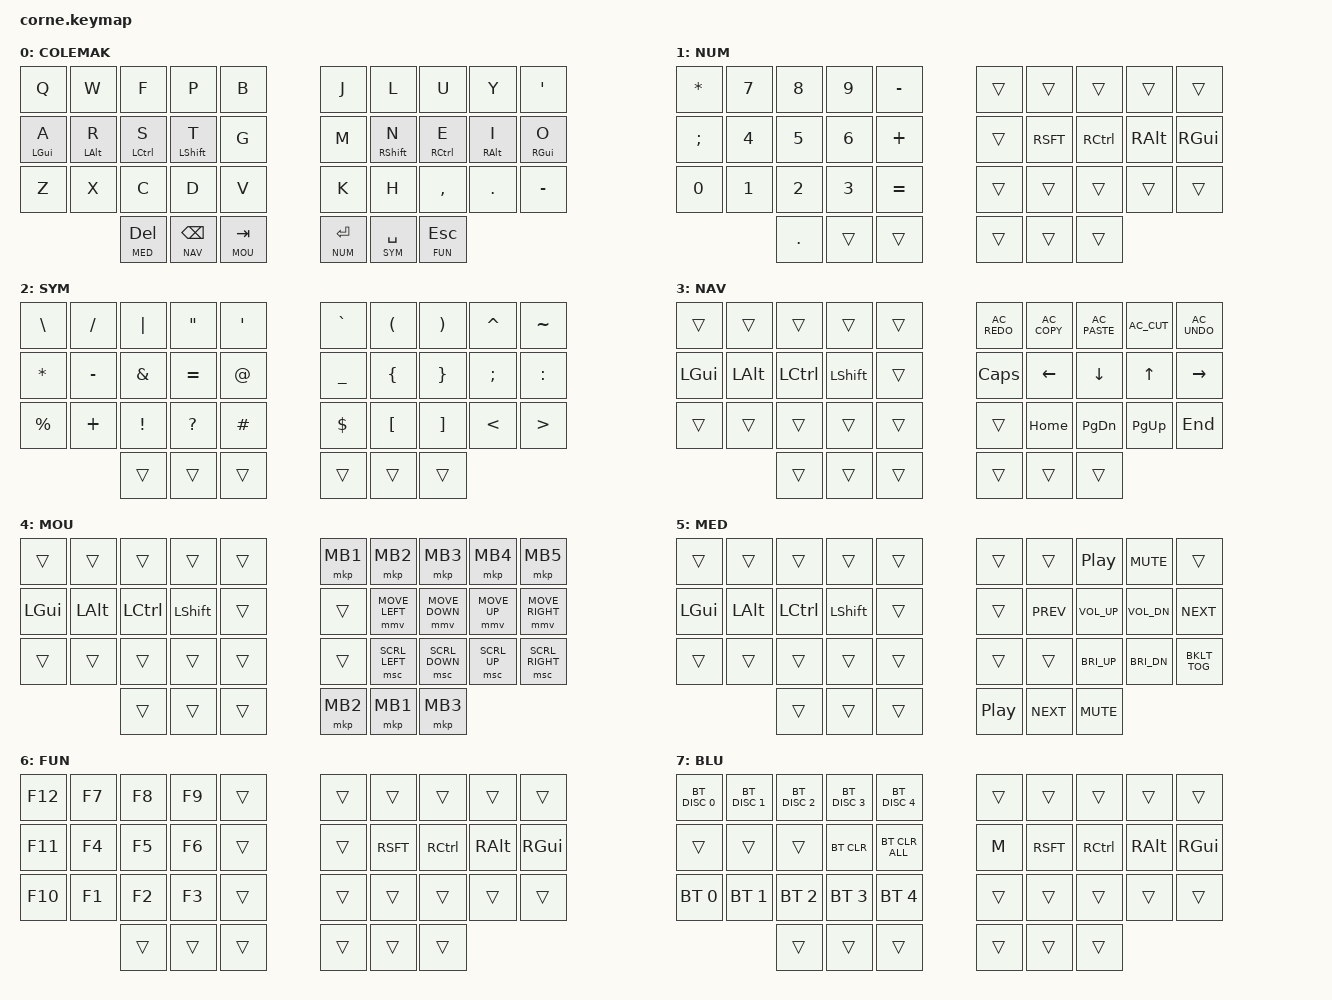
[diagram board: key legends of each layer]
/*
*
* Copyright (c) 2021 Darryl deHaan
* SPDX-License-Identifier: MIT
*
*/

// Fix problem quickly with galvanized jets. (35)
// Adjusting quiver and bow, Zompye killed the fox. (39)

#include <behaviors.dtsi>
#include <dt-bindings/zmk/keys.h>
#include <dt-bindings/zmk/bt.h>
#include <dt-bindings/zmk/pointing.h>

#define COLEMAK 0
#define NUM 1 // numbers
#define SYM 2 // symbols
#define NAV 3 // navigation
#define MOU 4 // mouse emulation
#define MED 5 // media layer
#define FUN 6 // f-keys
#define BLU 7 // bluetooth control layer^îoe

&mt {
        flavor = "tap-preferred";
        tapping-term-ms = <170>;
        quick-tap-ms = <130>;
};

&lt {
        tapping-term-ms = <170>;
        quick-tap-ms = <130>;
};

/ {   
    chosen {
        zmk,physical-layout = &foostan_corne_5col_layout;
    };    

    conditional_layers {
        compatible = "zmk,conditional-layers";
        tri_layer {
            if-layers = <NUM SYM>;
            then-layer = <BLU>;
        };
    };

    keymap {
        compatible = "zmk,keymap";

        /* ─── DEFAULT (COLEMAK) LAYER ─────────────────────────────────────────────────────────────── */
        default_layer {
            display-name = "COLEMAK";
                        bindings = <

            // |----------------------------------------------------------------------------------------------------------------------------------------------------|
            // |      Q      |      W      |      F      |      P      |      B      |       |      J      |      L       |      U      |      Y      |     '|?     |   
                    &kp Q        &kp W          &kp F         &kp P         &kp B                  &kp J         &kp L        &kp U          &kp Y        &kp APOSTROPHE   
            // |----------------------------------------------------------------------------------------------------------------------------------------------------|
            // |      A      |      R      |      S      |      T      |      G      |       |      M      |      N       |      E      |      I      |      O      |
                 &mt LGUI A     &mt LALT R    &mt LCTRL S  &mt LSHFT T        &kp G                &kp M      &mt RSHFT N   &mt RCTRL E    &mt RALT I     &mt RGUI O
            // |----------------------------------------------------------------------------------------------------------------------------------------------------|
            // |      Z      |      X      |      C      |      D      |      V      |       |      K      |      H       |     ,|;     |     .|:     |     -|_     |
                    &kp Z        &kp X          &kp C        &kp D         &kp V                 &kp K         &kp H        &kp COMMA      &kp DOT      &kp MINUS 
            // |----------------------------------------------------------------------------------------------------------------------------------------------------|
            //                             |     DEL     |     BSP     |     TAB     |       |   ENTER     |     SPC      |     ALT     |
                                            &lt MED DEL    &lt NAV BSPC  &lt MOU TAB         &lt NUM ENTER  &lt SYM SPACE  &lt FUN ESC
            //                             |-------------|-------------|-------------|-------|-------------|--------------|-------------|
                        >;
        };

        /* ─── NUMPAD LAYER (Right-Thumb Activation: Active mapping on LEFT half) ─────────────────── */
        num_layer {
            display-name = "NUM";
                        bindings = <

            // |----------------------------------------------------------------------------------------------------------------------------------------------------|
            // |   BKT   |    7      |    8      |    9      |  -     |       |   TRNS    |   TRNS     |   TRNS    |   TRNS    |   TRNS    |
                 &kp ASTRK      &kp N7      &kp N8      &kp N9      &kp MINUS                &trans   &trans   &trans   &trans   &trans
            // |----------------------------------------------------------------------------------------------------------------------------------------------------|
            // |   ;|:    |    4      |    5      |    6      |   PLUS    |       |   TRNS      | HRMR(N,E,I,O)        |
                  &kp SEMI      &kp N4      &kp N5      &kp N6       &kp PLUS               &trans     &kp RSFT   &kp RCTRL   &kp RALT   &kp RGUI
            // |----------------------------------------------------------------------------------------------------------------------------------------------------|
            // |   TRNS    |    1      |    2      |    3      |  EQL     |       |   TRNS    |   TRNS     |   TRNS    |   TRNS    |   TRNS    |
                 &kp N0       &kp N1      &kp N2      &kp N3      &kp EQL               &trans   &trans   &trans   &trans   &trans
            // |----------------------------------------------------------------------------------------------------------------------------------------------------|
            //                             |   .    |   0   |   TRNS    |       |   TRNS    |   TRNS     |   TRNS    |
                                            &kp DOT   &trans    &trans         &trans   &trans   &trans
            //                             |-------------|-------------|-------------|-------|-------------|--------------|-------------|
                        >;
        };

        /* ─── SYMBOLS LAYER (Right-Thumb Activation: Active mapping on LEFT half) ───────────────── */
        sym_layer {
            display-name = "SYM";
                        bindings = <

            // |----------------------------------------------------------------------------------------------------------------------------------------------------|
            // |     \      |      /      |      |      |      "      |      '      |       |     `       |      (       |      )      |      ^      |      ~      |   
                  &kp BSLH     &kp FSLH      &kp PIPE       &kp DQT      &kp SQT               &kp GRAVE     &kp LPAR       &kp RPAR     &kp CARET      &kp TILDE  
            // |----------------------------------------------------------------------------------------------------------------------------------------------------|
            // |      *     |      -      |      &      |      =      |      @      |       |     _       |      {       |      }      |      ;      |      :      |
                    &kp STAR  &kp MINUS      &kp AMPS        &kp EQUAL     &kp AT              &kp UNDER      &kp LBRC        &kp RBRC     &kp SEMI     &kp COLON
            // |----------------------------------------------------------------------------------------------------------------------------------------------------|
            // |     %      |      +      |      !      |      ?      |      #      |       |      $      |       [       |     ]      |      <      |      >      |
                  &kp PRCNT     &kp PLUS     &kp EXCL     &kp QMARK      &kp HASH              &kp DLLR       &kp LBKT        &kp RBKT       &kp LT       &kp GT 
            // |----------------------------------------------------------------------------------------------------------------------------------------------------|
            //                             |   TRNS    |   TRNS       |   TRNS      |       |   TRNS       |   TRNS        |   TRNS    |
                                            &trans        &trans      &trans              &trans      &trans        &trans
            //                             |-------------|-------------|-------------|-------|-------------|--------------|-------------|
                        >;
        };

        /* ─── NAVIGATION LAYER (Left-Thumb Activation: Active mapping on RIGHT half) ───────────── */
        nav_layer {
            display-name = "NAV";
                        bindings = <

            // |----------------------------------------------------------------------------------------------------------------------------------------------------|
            // |    TRNS   |   TRNS    |   TRNS    |   TRNS    |   TRNS    |       |   REDO    |   COPY    |   PASTE    |    CUT    |   UNDO    |
                    &trans   &trans   &trans   &trans   &trans            &kp C_AC_REDO    &kp C_AC_COPY   &kp C_AC_PASTE   &kp C_AC_CUT   &kp C_AC_UNDO   
            // |----------------------------------------------------------------------------------------------------------------------------------------------------|
            // |  HRML(A, R, S, T)                            |    TRNS     |       |     CAPS    |   LEFT     |    DOWN     |   UP    |   RIGHT    |
                    &kp LGUI  &kp LALT   &kp LCTRL   &kp LSHFT    &trans               &kp CAPS    &kp LEFT   &kp DOWN   &kp UP    &kp RIGHT   
            // |----------------------------------------------------------------------------------------------------------------------------------------------------|
            // |    TRNS   |   TRNS    |   TRNS    |   TRNS    |   TRNS    |       |   TRNS    |   HOME     |   PGDN    |   PGUP    |   END     |
                    &trans   &trans   &trans   &trans   &trans                &trans    &kp HOME   &kp PG_DN   &kp PG_UP   &kp END
            // |----------------------------------------------------------------------------------------------------------------------------------------------------|
            //                             |   TRNS    |   TRNS    |   TRNS    |       |   TRNS    |   TRNS     |   TRNS    |
                                            &trans   &trans   &trans         &trans   &trans   &trans
            //                             |-------------|-------------|-------------|-------|-------------|--------------|-------------|
                        >;
        };

        /* ─── MOUSE LAYER (Left-Thumb Activation: Active mapping on RIGHT half) ───────────────────── */
        mou_layer {
            display-name = "MOU";
                        bindings = <

            // |----------------------------------------------------------------------------------------------------------------------------------------------------|
            // |    TRNS   |   TRNS    |   TRNS    |   TRNS    |   TRNS    |       |   MB1    |   MB2     |   MB3    |   MB4    |   MB5    |
                    &trans   &trans   &trans   &trans   &trans                &mkp MB1   &mkp MB2   &mkp MB3   &mkp MB4   &mkp MB5
            // |----------------------------------------------------------------------------------------------------------------------------------------------------|
            // |  HRML(A, R, S, T)                               |    TRNS     |       |   TRNS    | MOVE_LEFT  | MOVE_DOWN    | MOVE_UP  | MOVE_RIGHT  |
                    &kp LGUI  &kp LALT   &kp LCTRL   &kp LSHFT    &trans             &trans   &mmv MOVE_LEFT  &mmv MOVE_DOWN   &mmv MOVE_UP   &mmv MOVE_RIGHT   
            // |----------------------------------------------------------------------------------------------------------------------------------------------------|
            // |    TRNS   |   TRNS    |   TRNS    |   TRNS    |   TRNS    |       |   TRNS    |  MS_WH_L   |  MS_WH_D   |  MS_WH_U   |    MS_WH_R   |
                    &trans   &trans   &trans   &trans   &trans            &trans    &msc SCRL_LEFT  &msc SCRL_DOWN   &msc SCRL_UP   &msc SCRL_RIGHT  
            // |----------------------------------------------------------------------------------------------------------------------------------------------------|
            //                             |   TRNS    |   TRNS    |   TRNS    |       |   RIGHT    |   LEFT     |   MIDDLE    |
                                            &trans   &trans   &trans              &mkp MB2       &mkp MB1    &mkp MB3     
            //                             |-------------|-------------|-------------|-------|-------------|--------------|-------------|
                        >;
        };

        /* ─── MEDIA LAYER (Left-Thumb Activation: Active mapping on RIGHT half) ───────────────────── */
        med_layer {
            display-name = "MED";
                        bindings = <

            // |----------------------------------------------------------------------------------------------------------------------------------------------------|
            // |    TRNS   |   TRNS    |   TRNS    |   TRNS    |   TRNS    |         |   TRNS    |   TRNS    |   MPLY    |   MUTE    |   TRNS    |
                    &trans   &trans   &trans   &trans   &trans              &trans  &trans         &kp C_PP     &kp C_MUTE   &trans
            // |----------------------------------------------------------------------------------------------------------------------------------------------------|
            // |  HRML(A, R, S, T)                              |    TRNS     |        |  TRNS    |   MPRE    |   VOLU    |   VOLD     |   MNXT    |
                    &kp LGUI  &kp LALT   &kp LCTRL   &kp LSHFT    &trans                &trans   &kp C_PREV    &kp C_VOL_UP   &kp C_VOL_DN    &kp C_NEXT
            // |----------------------------------------------------------------------------------------------------------------------------------------------------|
            // |    TRNS   |   TRNS    |   TRNS    |   TRNS    |   TRNS    |       |   TRNS    |   TRNS     |   Bright    |   Dark    |   Backlight    |
                    &trans   &trans   &trans   &trans   &trans                &trans   &trans   &kp C_BRI_UP   &kp C_BRI_DN   &kp C_BKLT_TOG
            // |----------------------------------------------------------------------------------------------------------------------------------------------------|
            //                             |   TRNS    |   TRNS    |   TRNS    |       |   Play/Pause    |   MNXT     |   MUTE    |
                                            &trans   &trans   &trans               &kp C_PP   &kp C_NEXT   &kp C_MUTE
            //                             |-------------|-------------|-------------|-------|-------------|--------------|-------------|
                        >;
        };

        /* ─── FUN (F-KEYS) LAYER (Right-Thumb Activation: Active mapping on LEFT half) ─────────── */
        fun_layer {
            display-name = "FUN";
                        bindings = <

            // |----------------------------------------------------------------------------------------------------------------------------------------------------|
            // |   F12     |  F7      |   F8      |   F9      |  TRNS     |       |   TRNS    |   TRNS     |   TRNS    |   TRNS    |   TRNS    |
                  &kp F12   &kp F7     &kp F8      &kp F9     &trans                &trans   &trans   &trans   &trans   &trans
            // |----------------------------------------------------------------------------------------------------------------------------------------------------|
            // |   F11     |   F4      |   F5      |   F6      |  TRNS     |       |   TRNS       | HRMR(N,E,I,O)                               |
                  &kp F11   &kp F4     &kp F5     &kp F6       &trans               &trans      &kp RSFT   &kp RCTRL   &kp RALT   &kp RGUI
            // |----------------------------------------------------------------------------------------------------------------------------------------------------|
            // |    F10    |   F1      |   F2      |   F3    |    TRNS     |       |   TRNS    |   TRNS     |   TRNS    |   TRNS    |   TRNS    |
                  &kp F10   &kp F1     &kp F2     &kp F3     &trans               &trans   &trans   &trans   &trans   &trans
            // |----------------------------------------------------------------------------------------------------------------------------------------------------|
            //                             |   TRNS    |   TRNS    |   TRNS    |       |   TRNS    |   TRNS     |   TRNS    |
                                            &trans   &trans   &trans         &trans   &trans   &trans
            //                             |-------------|-------------|-------------|-------|-------------|--------------|-------------|
                        >;
        };

        /* ─── BLUETOOTH LAYER (Right-Thumb Activation: Active mapping on LEFT half) ────────────── */
        blu_layer {
            display-name = "BLU";
                        bindings = <

            // |----------------------------------------------------------------------------------------------------------------------------------------------------|
            // |   TRNS    |   TRNS     |   TRNS    |   TRNS    |   TRNS    |       |   TRNS    |   TRNS     |   TRNS    |   TRNS    |   TRNS    |
                    &bt BT_DISC 0   &bt BT_DISC 1   &bt BT_DISC 2   &bt BT_DISC 3   &bt BT_DISC 4               &trans   &trans   &trans   &trans   &trans
            // |----------------------------------------------------------------------------------------------------------------------------------------------------|
            // |   TRNS    |   TRNS     |   TRNS    |   TRNS    |   TRNS    |       |   M       | HRMR(N,E,I,O)                                  |
                    &trans   &trans  &trans   &bt BT_CLR    &bt BT_CLR_ALL           &kp M      &kp RSFT   &kp RCTRL   &kp RALT   &kp RGUI
            // |----------------------------------------------------------------------------------------------------------------------------------------------------|
            // |   TRNS    |   TRNS     |   TRNS    |   TRNS    |   TRNS    |       |   TRNS    |   TRNS     |   TRNS    |   TRNS    |   TRNS    |
                    &bt BT_SEL 0   &bt BT_SEL 1   &bt BT_SEL 2   &bt BT_SEL 3   &bt BT_SEL 4             &trans   &trans   &trans   &trans   &trans
            // |----------------------------------------------------------------------------------------------------------------------------------------------------|
            //                             |   TRNS    |   TRNS    |   TRNS    |       |   TRNS    |   TRNS     |   TRNS    |
                                            &trans   &trans   &trans         &trans   &trans   &trans
            //                             |-------------|-------------|-------------|-------|-------------|--------------|-------------|
                        >;
        };

    };
};
